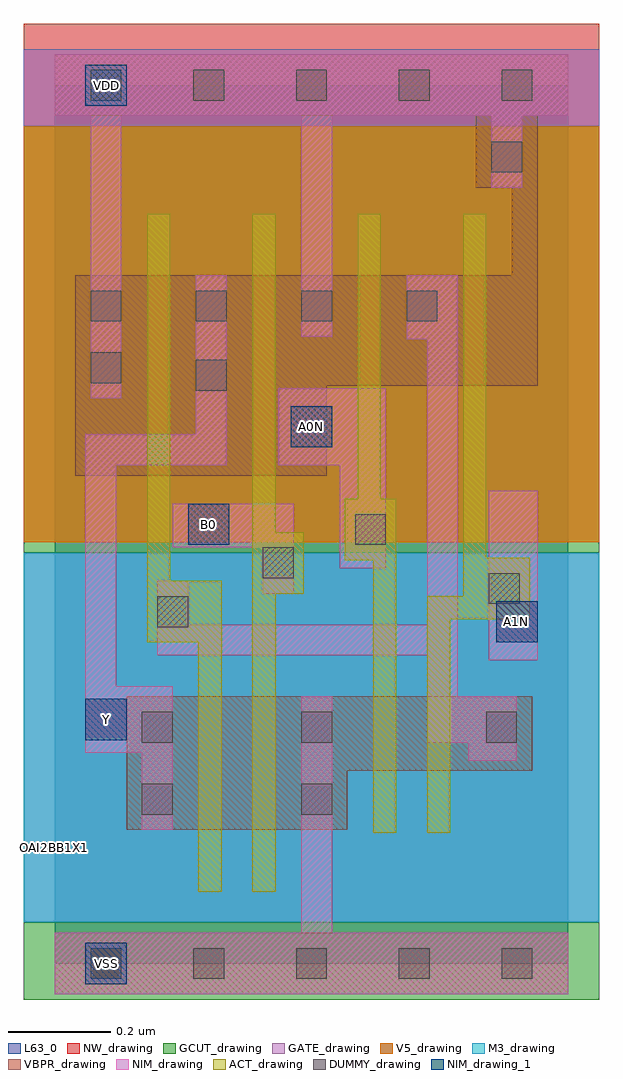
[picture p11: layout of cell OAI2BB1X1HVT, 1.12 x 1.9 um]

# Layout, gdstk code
import gdstk
lib = gdstk.Library(unit=1e-6, precision=5e-10)
def R(c, l, rs):  # rectangles x0, y0, x1, y1
    for r in rs: c.add(gdstk.rectangle(r[:2], r[2:], *l))
def A(c, l, x, y, w, h, nx, ny, dx, dy):  # array of equal rectangles
    R(c, l, [(x+i*dx, y+j*dy, x+i*dx+w, y+j*dy+h) for i in range(nx) for j in range(ny)])
def P(c, l, *ps):  # polygons
    for p in ps: c.add(gdstk.Polygon(p, *l))
VBPR_drawing = (1, 0)
NW_drawing = (2, 0)
ACT_drawing = (3, 0)
GATE_drawing = (4, 0)
GCUT_drawing = (5, 0)
DUMMY_drawing = (6, 0)
NIM_drawing = (7, 0)
NIM_drawing_1 = (7, 1)
M3_drawing = (18, 0)
V5_drawing = (23, 0)
L63_0 = (63, 0)

oai2bb1x1hvt = lib.new_cell('OAI2BB1X1HVT')
R(oai2bb1x1hvt, VBPR_drawing, [(0,-0.06,1,0.06), (0,1.65,1,1.77)])
P(oai2bb1x1hvt, VBPR_drawing, [(0.94,1.65),(0.82,1.65),(0.82,1.51),(0.89,1.51),(0.89,1.34),(0.04,1.34),(0.04,0.95),(0.53,0.95),(0.53,1.125),(0.94,1.125)],
  [(0.93,0.52),(0.14,0.52),(0.14,0.26),(0.57,0.26),(0.57,0.375),(0.93,0.375)])
R(oai2bb1x1hvt, NW_drawing, [(-0.06,0.82,1.06,1.83)])
P(oai2bb1x1hvt, ACT_drawing, [(0.925,0.79),(0.84,0.79),(0.84,1.46),(0.795,1.46),(0.795,0.715),(0.725,0.715),(0.725,0.255),(0.77,0.255),(0.77,0.67),(0.925,0.67)],
  [(0.665,0.905),(0.635,0.905),(0.635,1.46),(0.59,1.46),(0.59,0.905),(0.565,0.905),(0.565,0.785),(0.62,0.785),(0.62,0.255),(0.665,0.255)],
  [(0.485,0.84),(0.43,0.84),(0.43,1.46),(0.385,1.46),(0.385,0.14),(0.43,0.14),(0.43,0.72),(0.485,0.72)],
  [(0.325,0.745),(0.225,0.745),(0.225,1.46),(0.18,1.46),(0.18,0.625),(0.28,0.625),(0.28,0.14),(0.325,0.14)])
R(oai2bb1x1hvt, GATE_drawing, [(-0.06,0.08,1.06,0.8), (-0.06,1.63,1.06,1.78)])
R(oai2bb1x1hvt, GCUT_drawing, [(-0.06,-0.07,1.06,0.08), (-0.06,0.8,1.06,1.63)])
A(oai2bb1x1hvt, DUMMY_drawing, 0.07, -0.03, 0.06, 0.06, 5, 2, 0.2, 1.71)
A(oai2bb1x1hvt, DUMMY_drawing, 0.07, 1.25, 0.06, 0.06, 4, 1, 0.205, 0)
R(oai2bb1x1hvt, DUMMY_drawing, [(0.17,0.29,0.23,0.35), (0.48,0.29,0.54,0.35), (0.17,0.43,0.23,0.49), (0.48,0.43,0.54,0.49), (0.84,0.43,0.9,0.49), (0.2,0.655,0.26,0.715), (0.845,0.7,0.905,0.76), (0.405,0.75,0.465,0.81), (0.585,0.815,0.645,0.875), (0.275,1.115,0.335,1.175), (0.07,1.13,0.13,1.19), (0.85,1.54,0.91,1.6)])
R(oai2bb1x1hvt, NIM_drawing, [(0.48,0.06,0.54,0.52), (0.845,0.59,0.94,0.92), (0.07,1.1,0.13,1.65), (0.48,1.22,0.54,1.65), (0.85,1.51,0.91,1.65)])
P(oai2bb1x1hvt, NIM_drawing, [(0.9,0.52),(0.785,0.52),(0.785,1.34),(0.685,1.34),(0.685,1.215),(0.725,1.215),(0.725,0.66),(0.26,0.66),(0.26,0.745),(0.2,0.745),(0.2,0.6),(0.725,0.6),(0.725,0.43),(0.805,0.43),(0.805,0.395),(0.9,0.395)],
  [(0.645,1.12),(0.435,1.12),(0.435,0.97),(0.555,0.97),(0.555,0.77),(0.645,0.77)],
  [(0.465,0.895),(0.23,0.895),(0.23,0.81),(0.405,0.81),(0.405,0.72),(0.465,0.72)],
  [(0.335,1.34),(0.275,1.34),(0.275,1.03),(0.06,1.03),(0.06,0.41),(0.17,0.41),(0.17,0.26),(0.23,0.26),(0.23,0.54),(0.12,0.54),(0.12,0.97),(0.335,0.97)])
R(oai2bb1x1hvt, NIM_drawing_1, [(0.06,-0.04,0.14,0.04), (0.06,0.435,0.14,0.515), (0.86,0.625,0.94,0.705), (0.26,0.815,0.34,0.895), (0.46,1.005,0.54,1.085), (0.06,1.67,0.14,1.75)])
R(oai2bb1x1hvt, M3_drawing, [(-0.06,0.08,1.06,0.8)])
R(oai2bb1x1hvt, V5_drawing, [(-0.06,0.82,1.06,1.63)])
R(oai2bb1x1hvt, L63_0, [(0,0,1,1.71)])
oai2bb1x1hvt.add(gdstk.FlexPath([(0,0),(1,0)], 0.12, ends="flush", simple_path=True, layer=7, datatype=0))  # NIM_drawing
oai2bb1x1hvt.add(gdstk.FlexPath([(0,1.71),(1,1.71)], 0.12, ends="flush", simple_path=True, layer=7, datatype=0))  # NIM_drawing
oai2bb1x1hvt.add(gdstk.Label('A0N', (0.5,1.045), layer=7, texttype=1))
oai2bb1x1hvt.add(gdstk.Label('VSS', (0.1,0), layer=7, texttype=1))
oai2bb1x1hvt.add(gdstk.Label('B0', (0.3,0.855), layer=7, texttype=1))
oai2bb1x1hvt.add(gdstk.Label('VDD', (0.1,1.71), layer=7, texttype=1))
oai2bb1x1hvt.add(gdstk.Label('A1N', (0.9,0.665), layer=7, texttype=1))
oai2bb1x1hvt.add(gdstk.Label('Y', (0.1,0.475), layer=7, texttype=1))
oai2bb1x1hvt.add(gdstk.Label('VSS', (0.1,0), layer=7, texttype=1))
oai2bb1x1hvt.add(gdstk.Label('VDD', (0.1,1.71), layer=7, texttype=1))
oai2bb1x1hvt.add(gdstk.Label('A1N', (0.9,0.665), layer=7, texttype=1))
oai2bb1x1hvt.add(gdstk.Label('A0N', (0.5,1.045), layer=7, texttype=1))
oai2bb1x1hvt.add(gdstk.Label('B0', (0.3,0.855), layer=7, texttype=1))
oai2bb1x1hvt.add(gdstk.Label('Y', (0.1,0.475), layer=7, texttype=1))
oai2bb1x1hvt.add(gdstk.Label('OAI2BB1X1', (0,0.225), layer=63, texttype=0))

lib.write_gds('OAI2BB1X1HVT.gds')
